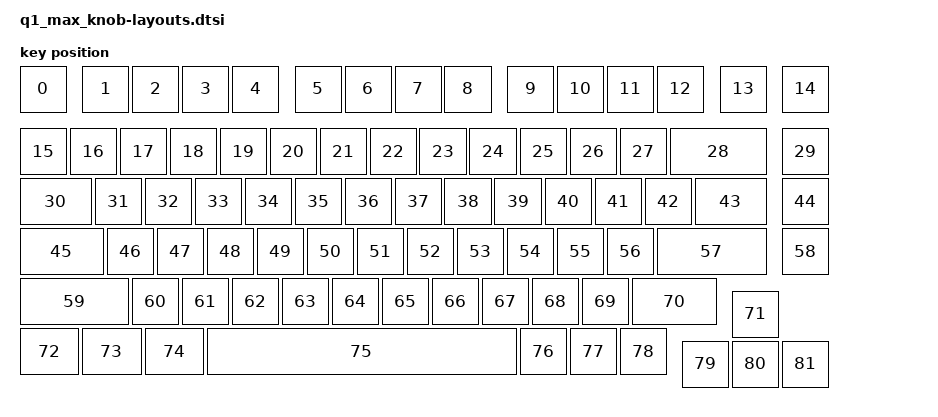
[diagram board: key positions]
// See https://zmk.dev/docs/development/hardware-integration/physical-layouts
// for how to configure this.

#include <physical_layouts.dtsi>

/ {
    default_layout: default_layout {
        compatible = "zmk,physical-layout";
        display-name = "Default Layout";
        transform = <&default_transform>;
        kscan = <&kscan>;

        // Edit this to define the positions and sizes of the keys, or remove it
        // if your keyboard will not support ZMK Studio.
        // https://zmk.dev/docs/development/hardware-integration/physical-layouts#optional-keys-property
        //                          w   h   x y rot rx ry
        keys = <&key_physical_attrs 100 100 0 0 0 0 0>,
               <&key_physical_attrs 100 100 125 0 0 0 0>,
               <&key_physical_attrs 100 100 225 0 0 0 0>,
               <&key_physical_attrs 100 100 325 0 0 0 0>,
               <&key_physical_attrs 100 100 425 0 0 0 0>,
               <&key_physical_attrs 100 100 550 0 0 0 0>,
               <&key_physical_attrs 100 100 650 0 0 0 0>,
               <&key_physical_attrs 100 100 750 0 0 0 0>,
               <&key_physical_attrs 100 100 850 0 0 0 0>,
               <&key_physical_attrs 100 100 975 0 0 0 0>,
               <&key_physical_attrs 100 100 1075 0 0 0 0>,
               <&key_physical_attrs 100 100 1175 0 0 0 0>,
               <&key_physical_attrs 100 100 1275 0 0 0 0>,
               <&key_physical_attrs 100 100 1400 0 0 0 0>,
               <&key_physical_attrs 100 100 1525 0 0 0 0>,
               <&key_physical_attrs 100 100 0 125 0 0 0>,
               <&key_physical_attrs 100 100 100 125 0 0 0>,
               <&key_physical_attrs 100 100 200 125 0 0 0>,
               <&key_physical_attrs 100 100 300 125 0 0 0>,
               <&key_physical_attrs 100 100 400 125 0 0 0>,
               <&key_physical_attrs 100 100 500 125 0 0 0>,
               <&key_physical_attrs 100 100 600 125 0 0 0>,
               <&key_physical_attrs 100 100 700 125 0 0 0>,
               <&key_physical_attrs 100 100 800 125 0 0 0>,
               <&key_physical_attrs 100 100 900 125 0 0 0>,
               <&key_physical_attrs 100 100 1000 125 0 0 0>,
               <&key_physical_attrs 100 100 1100 125 0 0 0>,
               <&key_physical_attrs 100 100 1200 125 0 0 0>,
               <&key_physical_attrs 200 100 1300 125 0 0 0>,
               <&key_physical_attrs 100 100 1525 125 0 0 0>,
               <&key_physical_attrs 150 100 0 225 0 0 0>,
               <&key_physical_attrs 100 100 150 225 0 0 0>,
               <&key_physical_attrs 100 100 250 225 0 0 0>,
               <&key_physical_attrs 100 100 350 225 0 0 0>,
               <&key_physical_attrs 100 100 450 225 0 0 0>,
               <&key_physical_attrs 100 100 550 225 0 0 0>,
               <&key_physical_attrs 100 100 650 225 0 0 0>,
               <&key_physical_attrs 100 100 750 225 0 0 0>,
               <&key_physical_attrs 100 100 850 225 0 0 0>,
               <&key_physical_attrs 100 100 950 225 0 0 0>,
               <&key_physical_attrs 100 100 1050 225 0 0 0>,
               <&key_physical_attrs 100 100 1150 225 0 0 0>,
               <&key_physical_attrs 100 100 1250 225 0 0 0>,
               <&key_physical_attrs 150 100 1350 225 0 0 0>,
               <&key_physical_attrs 100 100 1525 225 0 0 0>,
               <&key_physical_attrs 175 100 0 325 0 0 0>,
               <&key_physical_attrs 100 100 175 325 0 0 0>,
               <&key_physical_attrs 100 100 275 325 0 0 0>,
               <&key_physical_attrs 100 100 375 325 0 0 0>,
               <&key_physical_attrs 100 100 475 325 0 0 0>,
               <&key_physical_attrs 100 100 575 325 0 0 0>,
               <&key_physical_attrs 100 100 675 325 0 0 0>,
               <&key_physical_attrs 100 100 775 325 0 0 0>,
               <&key_physical_attrs 100 100 875 325 0 0 0>,
               <&key_physical_attrs 100 100 975 325 0 0 0>,
               <&key_physical_attrs 100 100 1075 325 0 0 0>,
               <&key_physical_attrs 100 100 1175 325 0 0 0>,
               <&key_physical_attrs 225 100 1275 325 0 0 0>,
               <&key_physical_attrs 100 100 1525 325 0 0 0>,
               <&key_physical_attrs 225 100 0 425 0 0 0>,
               <&key_physical_attrs 100 100 225 425 0 0 0>,
               <&key_physical_attrs 100 100 325 425 0 0 0>,
               <&key_physical_attrs 100 100 425 425 0 0 0>,
               <&key_physical_attrs 100 100 525 425 0 0 0>,
               <&key_physical_attrs 100 100 625 425 0 0 0>,
               <&key_physical_attrs 100 100 725 425 0 0 0>,
               <&key_physical_attrs 100 100 825 425 0 0 0>,
               <&key_physical_attrs 100 100 925 425 0 0 0>,
               <&key_physical_attrs 100 100 1025 425 0 0 0>,
               <&key_physical_attrs 100 100 1125 425 0 0 0>,
               <&key_physical_attrs 175 100 1225 425 0 0 0>,
               <&key_physical_attrs 100 100 1425 450 0 0 0>,
               <&key_physical_attrs 125 100 0 525 0 0 0>,
               <&key_physical_attrs 125 100 125 525 0 0 0>,
               <&key_physical_attrs 125 100 250 525 0 0 0>,
               <&key_physical_attrs 625 100 375 525 0 0 0>,
               <&key_physical_attrs 100 100 1000 525 0 0 0>,
               <&key_physical_attrs 100 100 1100 525 0 0 0>,
               <&key_physical_attrs 100 100 1200 525 0 0 0>,
               <&key_physical_attrs 100 100 1325 550 0 0 0>,
               <&key_physical_attrs 100 100 1425 550 0 0 0>,
               <&key_physical_attrs 100 100 1525 550 0 0 0>;
    };
};
